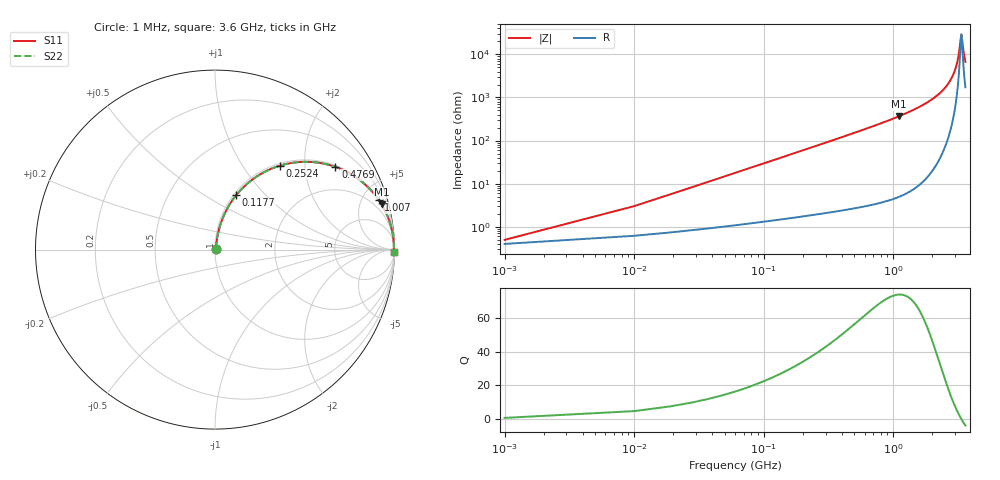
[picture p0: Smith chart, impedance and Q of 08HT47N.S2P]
! Coilcraft 0805HT-47N Chip Inductor
! 24 June 2002
# MHZ S MA R 50
!Freq  MagS11  AngS11  MagS21  AngS21  MagS12  AngS12  MagS22  AngS22
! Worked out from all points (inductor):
!   402 points, 1 MHz to 3.6 GHz, reference 50 ohm
!   read as one part in series: L = 47 nH near 18.96 MHz
!   highest Q = 74.1 at 1.106 GHz (marker M1), where L = 52.7 nH
!   self-resonance near 3.351 GHz
!   S11 on the Smith chart (normalised r, x): 1 MHz: 1.01, +0.01; 117.7 MHz: 1.03, +0.70; 252.4 MHz: 1.04, +1.50; 476.9 MHz: 1.05, +2.88; 1.007 GHz: 1.09, +6.54; 3.6 GHz: open
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1  0.00496 36.2  0.996 -0.2  0.996 -0.2  0.00496 36.2
27.94  0.08198 79.6  0.9884 -4.7  0.9884 -4.7  0.08198 79.6
36.92  0.1078 79.0  0.9852 -6.2  0.9852 -6.2  0.1078 79.0
72.84  0.2084 74.9  0.9669 -12.0  0.9669 -12.0  0.2084 74.9
117.74  0.325 68.8  0.9328 -18.9  0.9328 -18.9  0.325 68.8
180.6  0.4658 60.5  0.8705 -27.7  0.8705 -27.7  0.4658 60.5
252.44  0.5927 52.2  0.7903 -36.3  0.7903 -36.3  0.5927 52.2
476.94  0.8141 34.5  0.5662 -54.5  0.5662 -54.5  0.8141 34.5
602.66  0.8727 28.3  0.4744 -60.8  0.4744 -60.8  0.8727 28.3
1006.76  0.9526 16.9  0.2915 -72.3  0.2915 -72.3  0.9526 16.9
1105.54  0.9614 15.2  0.2624 -74.0  0.2624 -74.0  0.9614 15.2
1204.32  0.9683 13.7  0.2371 -75.5  0.2371 -75.5  0.9683 13.7
1805.98  0.9889 7.6  0.1316 -81.4  0.1316 -81.4  0.9889 7.6
2407.64  0.9952 3.9  0.06778 -84.0  0.06778 -84.0  0.9952 3.9
2748.88  0.9965 2.3  0.04027 -83.8  0.04027 -83.8  0.9965 2.3
3000.32  0.9968 1.3  0.02256 -81.1  0.02256 -81.1  0.9968 1.3
3170.94  0.9967 0.6  0.01163 -73.4  0.01163 -73.4  0.9967 0.6
3323.6  0.9966 0.1  0.003813 -26.7  0.003813 -26.7  0.9966 0.1
3350.54  0.9966 0.0  0.003443 -1.6  0.003443 -1.6  0.9966 0.0
3377.48  0.9965 -0.1  0.003797 23.5  0.003797 23.5  0.9965 -0.1
3503.2  0.9963 -0.5  0.009598 67.0  0.009598 67.0  0.9963 -0.5
3600  0.9961 -0.8  0.01486 74.3  0.01486 74.3  0.9961 -0.8
